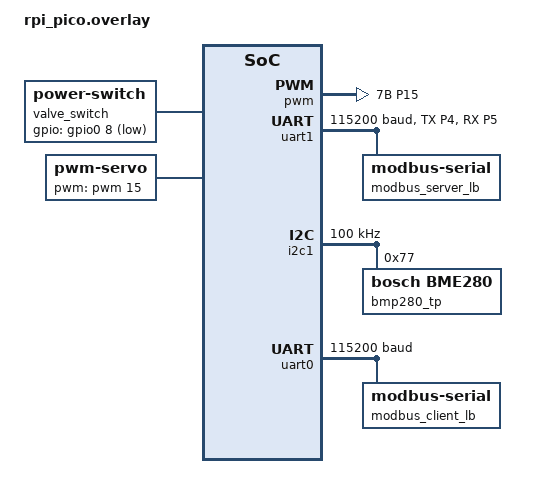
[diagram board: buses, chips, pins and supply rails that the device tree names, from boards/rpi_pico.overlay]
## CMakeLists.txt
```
CMAKE_MINIMUM_REQUIRED(VERSION 3.20.0)

FIND_PACKAGE(Zephyr REQUIRED HINTS $ENV{ZEPHYR_BASE})

PROJECT(micro_flow_controller)

FILE(GLOB app_sources src/*.c)
                           
TARGET_SOURCES(app PRIVATE ${app_sources})
```

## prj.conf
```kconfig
CONFIG_UART_CONSOLE=n
CONFIG_USE_SEGGER_RTT=y
CONFIG_RTT_CONSOLE=y

CONFIG_SENSOR=y

CONFIG_LOG=y

CONFIG_PRINTK=y

CONFIG_GPIO=y

CONFIG_SERIAL=y

CONFIG_UART_INTERRUPT_DRIVEN=y
CONFIG_UART_LINE_CTRL=n

CONFIG_PWM=y

CONFIG_MODBUS=y
CONFIG_MODBUS_ROLE_CLIENT_SERVER=y

CONFIG_MAIN_STACK_SIZE=2048
CONFIG_REQUIRES_FULL_LIBC=y
CONFIG_POSIX_API=y
CONFIG_SNTP=y

CONFIG_MAIN_STACK_SIZE=1024
CONFIG_SYSTEM_WORKQUEUE_STACK_SIZE=512

CONFIG_TEST_RANDOM_GENERATOR=y

CONFIG_THREAD_STACK_INFO=y
CONFIG_DYNAMIC_THREAD=y
CONFIG_DEBUG_THREAD_INFO=y
CONFIG_THREAD_NAME=y

CONFIG_ZBUS=y
CONFIG_ZBUS_LOG_LEVEL_INF=y
```

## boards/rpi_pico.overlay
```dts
&pinctrl{
  pwm_7bp15: pwm_7bp15{ group1{ pinmux = <PWM_7B_P15>; }; };
};

&pwm{
  status = "okay";
  pinctrl-0 = <&pwm_7bp15>;
  pinctrl-names = "default";
  divider-int-7 = <1>;
  divider-frac-7 = <0>;
};

&i2c0{
  status = "disabled";
};

&pinctrl{
  uart1_default: uart1_default{
    group1{ pinmux = <UART1_TX_P4>; };
    group2{ pinmux = <UART1_RX_P5>; input-enable;};
  };
};

&uart1{
  status = "okay";
  current-speed = <115200>;
  pinctrl-0 = <&uart1_default>;
  pinctrl-names = "default";
  modbus_server_lb: modbus_server{
    compatible = "zephyr,modbus-serial";
    status = "okay";
  };
};


&i2c1{
  status = "okay";
  pinctrl-0 = <&i2c1_default>;
  pinctrl-names = "default";
  clock-frequency = <I2C_BITRATE_STANDARD>;

  bmp280_tp@77{
    compatible = "bosch,bme280";
    reg = <0x77>;
    status = "okay";
  };

  //aht20_tp@38{
  //  compatible = "aosong,aht20";
  //  reg = <0x38>;
  //  status = "okay";
  //};

};

&uart0{
  status = "okay";
  current-speed = <115200>;
  pinctrl-0 = <&uart0_default>;
  pinctrl-names = "default";
  modbus_client_lb: modbus_client{
    compatible = "zephyr,modbus-serial";
    status = "okay";
  };
};

/{
  valve_switch: valve_switch{
    compatible = "power-switch";
    gpios = <&gpio0 8 GPIO_ACTIVE_LOW>;
  };

  servo: servo{
    compatible = "pwm-servo";
    status = "okay";
    pwms = <&pwm 15 PWM_USEC(50) PWM_POLARITY_INVERTED>;
    min-pulse = <PWM_USEC(10)>;
    max-pulse = <PWM_USEC(50)>;
  };

  aliases {
    modbus-client = &modbus_client_lb;
    modbus-server = &modbus_server_lb;
    switch0 = &valve_switch;
    servo0 = &servo;
  };
};
```

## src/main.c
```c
#include <zephyr/kernel.h>
#include <zephyr/sys/util.h>
#include <zephyr/drivers/gpio.h>
#include <zephyr/modbus/modbus.h>
#include <zephyr/usb/usb_device.h>
#include <zephyr/device.h>
#include <zephyr/logging/log.h>
#include <zephyr/devicetree.h>
#include <zephyr/drivers/sensor.h>
#include <zephyr/drivers/pwm.h>
#include <stdio.h>

#include <errno.h>
#include <sys/time.h>
#include <time.h>
#include <unistd.h>
#include <pthread.h>

#include "period_task.h"
#include "sensors.h"

LOG_MODULE_REGISTER(demo_version,LOG_LEVEL_INF);
static uint16_t modbus_registers[64];
static uint8_t __attribute__((unused)) modbus_coils;


#define PWM_HALF_USEC(x) 500*(x)

#define SET_LED 0x0000
#define MODBUS_SEVER_FC_TEMP  0x0001
#define MODBUS_SEVER_FC_PRESS 0x0005

#define READ_FLOWMETER_ADDR 0x0009

#define WRITE_REGISTER_SetFlow_LO 0x000F
#define WRITE_REGISTER_SetFlow_HI 0x0010
#define SET_FLOWMETER_ADDR 0x0011

#define MODBUS_SEVER_FC_SET_VSWITCH 0x0012
#define MODBUS_SEVER_FC_SET_SM 0x0013
#define SET_PERIOD_DUMP 0x0014
#define SET_PERIOD_RECYCLE 0x0015
#define SET_MFC_PV_LO 0x0016
#define SET_MFC_PV_HI 0x0017

#define READ_CURRENT_FLOW 0x0000
#define READ_TOTAL_FLOW 0x0001
#define SET_FLOW 0x0000
#define RESET_TOTAL_FLOW 0x0001
#define GPIO8_HIGH 0x0001
#define GPIO8_LOW  0x0000

#define LED0_NODE DT_ALIAS(led0)
static const struct gpio_dt_spec led = GPIO_DT_SPEC_GET(LED0_NODE, gpios);



#if !DT_NODE_EXISTS(DT_NODELABEL(valve_switch))
# error "compiler: device node not define"
#endif
#if !DT_NODE_EXISTS(DT_ALIAS(servo0))
# error "compiler: define node <servo0> not define"
#else
# define SEVER0_NODE DT_ALIAS(servo0)
#endif
static const struct pwm_dt_spec servo_st = PWM_DT_SPEC_GET(SEVER0_NODE);
static const uint32_t __attribute__((unused)) min_pulse = DT_PROP(SEVER0_NODE,min_pulse);
static const uint32_t __attribute__((unused)) max_pulse = DT_PROP(SEVER0_NODE,max_pulse);

static const struct gpio_dt_spec valve_switch = 
  GPIO_DT_SPEC_GET_OR(DT_NODELABEL(valve_switch),gpios,{0});

static const struct device* bmp280;
static const struct device* aht20;
static int client_iface;

struct sensors_msg{
  uint16_t data[15];
};
static struct sensors_msg monitor = {0};

void monitor_pt_task(struct k_work* dummy){
  struct sensor_value value;
  sensor_sample_fetch(bmp280);
  sensor_channel_get(bmp280,SENSOR_CHAN_AMBIENT_TEMP,&value);
  monitor.data[0] = value.val1;
  monitor.data[1] = (uint16_t)(value.val2>>16);
  monitor.data[2] = (uint16_t)(value.val2 & 0xFFFF);
  k_msleep(10);
  sensor_channel_get(bmp280,SENSOR_CHAN_PRESS,&value);
  monitor.data[3] = value.val1;
  monitor.data[4] = (uint16_t)(value.val2>>16);
  monitor.data[5] = (uint16_t)(value.val2 & 0xFFFF);
  //k_msleep(10);
  //get_aht20_t(aht20,monitor.data+6);
  k_msleep(30);
  modbus_read_holding_regs(client_iface,1,0x0010,monitor.data+11,2);
  //LOG_INF("====> update");
}
static struct period_task monitor_pt = {
  .task = monitor_pt_task
  ,.m_interval_td = 0
  ,.m_interval_tp = 300
};
#include <zephyr/zbus/zbus.h>
ZBUS_CHAN_DECLARE(sensors_data_update);
void* peripheral_thread(void*){
  struct sensors_msg sm = {0};
  while(1){
    struct sensor_value value;
    sensor_sample_fetch(bmp280);
    sensor_channel_get(bmp280,SENSOR_CHAN_AMBIENT_TEMP,&value);
    sm.data[0] = value.val1;
    sm.data[1] = (uint16_t)(value.val2>>16);
    sm.data[2] = (uint16_t)(value.val2 & 0xFFFF);
    k_msleep(10);
    sensor_channel_get(bmp280,SENSOR_CHAN_PRESS,&value);
    sm.data[3] = value.val1;
    sm.data[4] = (uint16_t)(value.val2>>16);
    sm.data[5] = (uint16_t)(value.val2 & 0xFFFF);
    k_msleep(30);
    modbus_read_holding_regs(client_iface,1,0x0010,sm.data+11,2);

    //LOG_INF("my_thread");
    //LOG_INF("my thread. bmp: %d",POINTER_TO_INT(bmp280));


    //for (int i=0; i<3; ++i) sm.temprature[i]++;
    //for (int i=0; i<3; ++i) sm.pressure[i]++;
    //for (int i=0; i<3; ++i) sm.humidity[i]++;
    zbus_chan_pub(&sensors_data_update,&sm,K_MSEC(200));
    k_msleep(1000);

  }
}
//K_THREAD_DEFINE(peripheral_thread_id,1024,peripheral_thread,NULL,NULL,NULL,5,0,0);


struct sensor_wq_info{
  struct k_work work;
  const struct zbus_channel* chan;
  uint8_t handle;
};
static struct sensor_wq_info wq_handler1 = {.handle = 1};
static struct sensor_wq_info wq_handler2 = {.handle = 2};
static struct sensor_wq_info wq_handler3 = {.handle = 3};
static struct sensor_wq_info wq_handler4 = {.handle = 4};

static void wq_dh_cb1(struct k_work* item){
  struct sensors_msg msg;
  struct sensor_wq_info* sens = 
    CONTAINER_OF(item,struct sensor_wq_info,work);
  zbus_chan_read(sens->chan,&msg,K_MSEC(200));
  LOG_INF("sen handle(T) %d %d %d %d",sens->handle
      ,msg.data[0] ,msg.data[1] ,msg.data[2]); }
static void wq_dh_cb2(struct k_work* item){
  struct sensors_msg msg;
  struct sensor_wq_info* sens = 
    CONTAINER_OF(item,struct sensor_wq_info,work);
  zbus_chan_read(sens->chan,&msg,K_MSEC(200));
  LOG_INF("sen handle(P) %d %d %d %d",sens->handle
      ,msg.data[3] ,msg.data[4] ,msg.data[5]); }
static void wq_dh_cb3(struct k_work* item){
  struct sensors_msg msg;
  struct sensor_wq_info* sens = 
    CONTAINER_OF(item,struct sensor_wq_info,work);
  zbus_chan_read(sens->chan,&msg,K_MSEC(200));
  LOG_INF("sen handle(MFC-PV) %d %d %d",sens->handle
      ,msg.data[11],msg.data[12]); }

static void wq_dh_cb4(struct k_work* item){
  struct sensors_msg msg;
  struct sensor_wq_info* sens = 
    CONTAINER_OF(item,struct sensor_wq_info,work);
  zbus_chan_read(sens->chan,&msg,K_MSEC(200));
  for (int i=0; i<ARRAY_SIZE(monitor.data); ++i)
    monitor.data[i] = msg.data[i];

}






static void dh1_cb(const struct zbus_channel* chan){
  wq_handler1.chan = chan;
  k_work_submit(&wq_handler1.work); }
static void dh2_cb(const struct zbus_channel* chan){
  wq_handler2.chan = chan;
  k_work_submit(&wq_handler2.work); }
static void dh3_cb(const struct zbus_channel* chan){
  wq_handler3.chan = chan;
  k_work_submit(&wq_handler3.work); }
static void dh4_cb(const struct zbus_channel* chan){
  wq_handler4.chan = chan;
  k_work_submit(&wq_handler4.work); }

ZBUS_LISTENER_DEFINE(delay_handler1_lis,dh1_cb);
ZBUS_LISTENER_DEFINE(delay_handler2_lis,dh2_cb);
ZBUS_LISTENER_DEFINE(delay_handler3_lis,dh3_cb);
ZBUS_LISTENER_DEFINE(delay_handler4_lis,dh4_cb);
ZBUS_CHAN_DEFINE(sensors_data_update
    ,struct sensors_msg
    ,NULL
    ,NULL
    ,ZBUS_OBSERVERS(
      delay_handler1_lis
      ,delay_handler2_lis
      ,delay_handler3_lis
      ,delay_handler4_lis
      )
    ,ZBUS_MSG_INIT(0));



const static struct modbus_iface_param client_accu_iface = {
  .mode = MODBUS_MODE_RTU,
  .rx_timeout = 500000,
  .serial = {
    .baud = 115200,
    .parity = UART_CFG_PARITY_NONE,
    .stop_bits_client = UART_CFG_STOP_BITS_1
  }
};

#define MODBUS_CLIENT_NODE DT_ALIAS(modbus_client)
static int init_modbus_client(void){
  char const iface_name[] = {DEVICE_DT_NAME(MODBUS_CLIENT_NODE)};
  LOG_INF("init_modbus_client: iface_name %s",iface_name);
  client_iface = modbus_iface_get_by_name(iface_name);
  LOG_INF("init_modbus_client: client_iface: %d",client_iface);

  return modbus_init_client(client_iface,client_accu_iface);
}

enum run_state{
  k_debug
  ,k_run
};

static enum run_state rs = k_debug;

static int coil_rd(uint16_t addr, bool* state){
  LOG_INF("todo");
  return 0;
}

static int coil_wr(uint16_t addr, bool state){
  LOG_INF("todo");

  return 0;
}


static int registers_read(uint16_t addr, uint16_t* reg){
  if (rs==k_debug)
    *reg = modbus_registers[addr];
  else if(rs==k_run)
    *reg = monitor.data[addr];
  //LOG_INF("registers_read, addr %u",addr);
  return 0;
}

static int registers_write(uint16_t addr, uint16_t value);

static struct modbus_user_callbacks mbs_cbs = {
  .coil_rd = coil_rd,
  .coil_wr = coil_wr,
  .holding_reg_rd = registers_read,
  .holding_reg_wr = registers_write
};
const static struct modbus_iface_param server_param = {
	.mode = MODBUS_MODE_RTU,
	.server = {
		.user_cb = &mbs_cbs,
		.unit_id = 1,
	},
	.serial = {
		.baud = 19200,
		.parity = UART_CFG_PARITY_NONE,
    .stop_bits_client = UART_CFG_STOP_BITS_2
	}
};

#define MODBUS_SERVER_NODE DT_ALIAS(modbus_server)
static int init_modbus_server(void){
  const char iface_name[] = {DEVICE_DT_NAME(MODBUS_SERVER_NODE)};
  LOG_INF("init_modbus_server: iface_name %s",iface_name);
  int iface = modbus_iface_get_by_name(iface_name);
  if (iface<0){
    LOG_ERR("failed to get iface index for %s",iface_name);
    return iface; }
  return modbus_init_server(iface,server_param); }

static const struct device* get_bmp280_device(void){
#if !DT_NODE_HAS_STATUS(DT_NODELABEL(i2c1), okay)
# pragma message "i2c1 node has been unable, sensor unable too"
  LOG_INF("i2c1 unable");
  return NULL;
#else
  const struct device* const dev = DEVICE_DT_GET_ANY(bosch_bme280);
  if (dev==NULL){
    LOG_ERR("sensor bmp280 get failed");
    return NULL; }
  if (!device_is_ready(dev)){
    LOG_ERR("device %s is not ready",dev->name);
    return NULL; }
  return dev;
#endif
}


static const struct device* get_aht20_device(void){
#if !DT_NODE_HAS_STATUS(DT_NODELABEL(i2c1),okay)
# pragma message "i2c1 node has been unable, sensor unable too"
  LOG_INF("i2c1 unable");
  return NULL;
#else
  const struct device* const dev = DEVICE_DT_GET_ANY(aosong_aht20);
  if (dev==NULL){
    LOG_ERR("sensor %s get failed",dev->name);
    return NULL;
  }
  if (!device_is_ready(dev)){
    LOG_ERR("device %s is not ready",dev->name);
    return NULL; 
  }
  return dev;
#endif
}



//---------------------------------------------------------------------
static int trans_to_recycle_mode(){
  int ec = gpio_pin_configure_dt(&valve_switch,GPIO_OUTPUT_ACTIVE);
  if (ec<0){
    k_msleep(30);
    if (gpio_pin_configure_dt(&valve_switch,GPIO_OUTPUT_ACTIVE)<0) return -1;
  }
  k_msleep(30);

  ec = pwm_set_pulse_dt(&servo_st,PWM_HALF_USEC(14));
  if (ec<0){
    k_msleep(30);
    if (pwm_set_pulse_dt(&servo_st,PWM_HALF_USEC(14))<0) return -3;
  }

  k_msleep(200);

  uint16_t float0[2] = {0,0};
  ec = modbus_write_holding_regs(client_iface,1,0x006a,float0,2);
  if (ec != 0){
    k_msleep(200);
    ec = modbus_read_holding_regs(client_iface,1,0x006a,float0,2);
    if (ec !=0) return -2; }
  return 0;

}
static int trans_to_dump_mode(){
  int ec = pwm_set_pulse_dt(&servo_st,0);
  if (ec<0){
    k_msleep(30);
    if (pwm_set_pulse_dt(&servo_st,0)<0) return -1;
  }
  k_msleep(30);

  //uint16_t float_toset[2] = {0,16880}; //40.
  ec = modbus_write_holding_regs(client_iface,1,0x006a
      ,modbus_registers+SET_MFC_PV_LO,2);
  if (ec != 0){
    k_msleep(200);
    ec = modbus_write_holding_regs(client_iface,1,0x006a,
        modbus_registers+SET_MFC_PV_LO,2);
    if (ec!=0){
      gpio_pin_configure_dt(&valve_switch,GPIO_OUTPUT_INACTIVE);
      return -2;
    }
  }

  k_msleep(200);
  ec = gpio_pin_configure_dt(&valve_switch,GPIO_OUTPUT_INACTIVE);
  if (ec<0){
    k_msleep(30);
    if(gpio_pin_configure_dt(&valve_switch,GPIO_OUTPUT_INACTIVE)<0) return -3;
  }
  return 0;
}

static int self_cycle_mode(){

  LOG_INF("self cycle mode!");
  rs = k_run;

  size_t i = 1;
  while(rs==k_run){
    LOG_INF("period %d start" ,i++);
    uint16_t dt = modbus_registers[SET_PERIOD_DUMP];
    uint16_t rt = modbus_registers[SET_PERIOD_RECYCLE];
    LOG_INF("dt rt: %d %d",dt,rt);

    int ec;
    if (dt==0){
    }else{
      ec = trans_to_dump_mode();
      if (ec != 0){
        LOG_WRN("%d loop, Failed in 'trans_to_dump_mode'", i);
      }else{
        LOG_INF("===> dump mode");
        k_msleep(dt*1000);
      }
    }

    if (rt==0){
    }else{
      ec = trans_to_recycle_mode();
      if (ec != 0){
        LOG_WRN("%d loop, Failed in 'trans_to_recycle_mode'", i);
      }else{
        LOG_INF("===> recycle mode");
        k_msleep(rt*1000);
      }
    }
  }
  return 0;
}
//---------------------------------------------------------------------
void AAA_WK(struct k_work* item){
  struct timeval tv;
  gettimeofday(&tv,NULL);
  LOG_INF("AAA_WK %d %d %d, thread: %d"
      ,(unsigned int)(tv.tv_sec>>32),(unsigned int)tv.tv_sec,(unsigned int)tv.tv_usec
      ,pthread_self()); }
void BBB_WK(struct k_work* item){
  struct timeval tv;
  gettimeofday(&tv,NULL);
  LOG_INF("BBB_WK %d %d %d, thread: %d"
      ,(unsigned int)(tv.tv_sec>>32),(unsigned int)tv.tv_sec,(unsigned int)tv.tv_usec
      ,pthread_self()); }
void CCC_WK(struct k_work* item){
  struct timeval tv;
  gettimeofday(&tv,NULL);
  LOG_INF("CCC_WK %d %d %d, thread: %d"
      ,(unsigned int)(tv.tv_sec>>32),(unsigned int)tv.tv_sec,(unsigned int)tv.tv_usec
      ,pthread_self()); }
//---------------------------------------------------------------------

static int registers_write(uint16_t addr, uint16_t value){
  switch(addr){
    case(SET_LED):
      if (value==0) gpio_pin_configure_dt(&led,GPIO_OUTPUT_INACTIVE);
      else if (value==1) gpio_pin_configure_dt(&led,GPIO_OUTPUT_ACTIVE);
      else if (value==2) rs=k_debug;
      else if (value==3) rs=k_run;
      else if (value==4){
        l_stop_period_task(&monitor_pt);
      }else if (value==5){
        self_cycle_mode();
      }else if(value==6){
        l_start_period_task(&monitor_pt);
      }
      modbus_registers[0] = value;
      break;
    case(MODBUS_SEVER_FC_TEMP):
      struct sensor_value value2;
      sensor_sample_fetch(bmp280);
      sensor_channel_get(bmp280,SENSOR_CHAN_AMBIENT_TEMP,&value2);
      modbus_registers[2] = value2.val1;
      modbus_registers[3] = (uint16_t)(value2.val2>>16);
      modbus_registers[4] = (uint16_t)(value2.val2 & 0xFFFF);
      LOG_INF("senso: temp: %d.%d",value2.val1,value2.val2);
      break;
    case(MODBUS_SEVER_FC_PRESS):
      struct sensor_value value1;
      sensor_sample_fetch(bmp280);
      sensor_channel_get(bmp280,SENSOR_CHAN_PRESS,&value1);
      modbus_registers[6] = value1.val1;
      modbus_registers[7] = (uint16_t)(value1.val2>>16);
      modbus_registers[8] = (uint16_t)(value1.val2 & 0xFFFF);
      LOG_INF("sensor press: %d.%d",value1.val1,value1.val2);
      break;
    case(READ_FLOWMETER_ADDR):
      if (value==READ_CURRENT_FLOW){
        int ecode = 
          modbus_read_holding_regs(client_iface,1,0x0010,modbus_registers+10,2);
        //ecode = 
        //  modbus_read_holding_regs(client_iface,1,0x0010,modbus_registers+10,2);
        if (ecode!=0){ 
          LOG_ERR("current read failed");
          return -1;
        }
        LOG_INF("read current flow ok");
        LOG_HEXDUMP_INF(modbus_registers+10,2,"moment ...");}
      else if (value==READ_TOTAL_FLOW){
        int ecode = 
          modbus_read_holding_regs(client_iface,1,0x001c,modbus_registers+12,2);
        if (ecode!=0){
          LOG_ERR("total read failed");
          return -1;
        }
        LOG_INF("read total flow ok");
        LOG_HEXDUMP_INF(modbus_registers+12,2,"sustain ...");
      }
      break;
    
    case (SET_FLOWMETER_ADDR):
      if (value==RESET_TOTAL_FLOW){
        uint16_t zero_float[2] = {0,0};
        int ec = modbus_write_holding_regs( client_iface,1,0x001c,zero_float,2);
        if (ec!=0){ 
          LOG_ERR("reset total flow failed");
          return -1;
        }
        LOG_INF("reset total flow ok");
      }else if(value==SET_FLOW){
        //LOG_INF("inter: SET_FLOW !!");

        int ec = modbus_write_holding_regs(client_iface,1,0x006a,modbus_registers+15,2);

        if (ec != 0){
          LOG_ERR("set flow failed");
          return -1;
        }
        LOG_INF("set flow ok"); 
      }
      break;
    //case(WRITE_REGISTER_SetFlow_LO):
    //  modbus_registers[15] = value;
    //  break;
    //case(WRITE_REGISTER_SetFlow_HI):
    //  modbus_registers[16] = value;
    //  break;
    case(MODBUS_SEVER_FC_SET_VSWITCH):
      if (value==GPIO8_HIGH){
        if (gpio_pin_configure_dt(&valve_switch,GPIO_OUTPUT_INACTIVE)<0){
          LOG_ERR("valve_switch set to 'INACTIVE' failed");
          return -1;
        }
        LOG_INF("valve_switch switch to 'INACTIVE' ok");
      }
      else if(value==GPIO8_LOW){
        if (gpio_pin_configure_dt(&valve_switch,GPIO_OUTPUT_ACTIVE)<0){
          LOG_ERR("valve_switch set to 'ACTIVE' failed");
          return -1;
        }
        LOG_INF("valve_switch switch to 'ACTIVE' ok");
      }
      break;
    case(MODBUS_SEVER_FC_SET_SM):
      LOG_INF("MODBUS_SEVER_FC_SET_SM, value: %d",value);
      pwm_set_pulse_dt(&servo_st,PWM_USEC(value/2));
      LOG_INF("servo_motor's pluse be set to %ld ok",PWM_USEC(value/2));
      break;
    case(SET_MFC_PV_LO):
    case(SET_MFC_PV_HI):
    case(SET_PERIOD_DUMP):
    case(SET_PERIOD_RECYCLE):
    case(WRITE_REGISTER_SetFlow_LO):
    case(WRITE_REGISTER_SetFlow_HI):
      modbus_registers[addr] = value;
    default:
      LOG_INF("unknow command %d",addr);
      break;
  }
  return 0;
}
//---------------------------------------------------------------------

int main(void){
  LOG_INF("program init");
  for (size_t i=0; i<32; i++) modbus_registers[i] = 0x00;
  modbus_registers[10] = modbus_registers[11] = 0xFFFF;
  modbus_registers[12] = modbus_registers[13] = 0xFFFF;
  modbus_registers[SET_MFC_PV_LO] = 0;
  modbus_registers[SET_MFC_PV_HI] = 16880;
  modbus_registers[SET_PERIOD_DUMP] = 30;
  modbus_registers[SET_PERIOD_RECYCLE] = 30;
  if (!gpio_is_ready_dt(&led)){
    LOG_ERR("gpio8 output led ready failed");
    return -1;
  }
  //LOG_INF("gpio8 output led ready ok");
  modbus_registers[14] |= 0b00000001;

  if (!gpio_is_ready_dt(&valve_switch)){
    LOG_ERR("gpio8 output valve_switch ready failed");
    return -1;
  }
  modbus_registers[14] |= 0b00000010;
  //LOG_INF("gpio8 output valve_switch ready ok");
  if (!pwm_is_ready_dt(&servo_st)){
    LOG_ERR("pwm device not ready: %s",servo_st.dev->name);
    return -1;
  }
  pwm_set_pulse_dt(&servo_st,0);
  //LOG_INF("pwm device ready: %s",servo_st.dev->name);
  modbus_registers[14] |= 0b00000100;

  bmp280 = get_bmp280_device();
  if (bmp280 == NULL){
    LOG_ERR("sensor initialization failed");
  }else{
    LOG_INF("sensor bmp280 initialization ok");
    modbus_registers[14] |= 0b00001000;
  }

  aht20 = get_aht20_device(); //TODO 
  if (aht20==NULL){
    LOG_ERR("sensor aht20 initialization failed");
    return 0;
  }

  if (init_modbus_client()){
    LOG_ERR("modbus rtu client initialization failed"); 
    return -1;
  }
  modbus_registers[14] |= 0b00100000;
  //LOG_INF("modbus rtu client initialization ok");
  if (init_modbus_server()){ 
    LOG_ERR("modbus rtu server initialization failed");
    return -1;
  }
  //LOG_INF("modbus rtu server initialization ok");
  modbus_registers[14] |= 0b01000000;

  k_work_init(&wq_handler1.work,wq_dh_cb1);
  k_work_init(&wq_handler2.work,wq_dh_cb2);
  k_work_init(&wq_handler3.work,wq_dh_cb3);
  k_work_init(&wq_handler4.work,wq_dh_cb4);

  k_msleep(2000);
  uint16_t digit_mode_command[2] = {0x0000,0x41D0};
  if (modbus_write_holding_regs(client_iface,1,0x0074,digit_mode_command,2)!=0){
    k_msleep(2000);
    if (modbus_write_holding_regs(client_iface,1,0x0074,digit_mode_command,2)!=0){
      LOG_ERR("set flowmeter mode as 'digit' failed"); 
      return -1;
    }
  }
  modbus_registers[14] |= 0b10000000;
  gpio_pin_configure_dt(&led,GPIO_OUTPUT_ACTIVE);
  LOG_INF("set flowmeter mode as 'digit'");
  LOG_INF("all is ok, blink the LED");

  l_init_period_task(&monitor_pt);

  l_start_period_task(&monitor_pt);

  self_cycle_mode();

  return 0;

}
```

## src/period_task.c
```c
#include "period_task.h"
void period_task_adaptor(struct k_timer* pt){
  struct period_task* task = 
    CONTAINER_OF(pt,struct period_task,m_timer);
  if (task->work_queue==NULL) k_work_submit(&task->work);
  else k_work_submit_to_queue(task->work_queue,&task->work); }

void l_init_period_task(struct period_task* pt){
  k_work_init(&pt->work,pt->task);
  k_timer_init(&pt->m_timer,period_task_adaptor,NULL); }

void l_start_period_task(struct period_task* pt){
  k_timer_start(&pt->m_timer
      ,K_MSEC(pt->m_interval_td),K_MSEC(pt->m_interval_tp)); }

void l_stop_period_task(struct period_task* pt){
  k_timer_stop(&pt->m_timer);
}
```

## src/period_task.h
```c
#ifndef period_task_H
#define period_task_H 1 
#include <zephyr/kernel.h>
struct period_task{
  uint32_t m_interval_td;
  uint32_t m_interval_tp;
  struct k_timer m_timer;
  struct k_work work;
  k_work_handler_t task;
  struct k_work_q* work_queue;
};

void period_task_adaptor(struct k_timer*);
void l_init_period_task(struct period_task*);
void l_start_period_task(struct period_task*);
void l_stop_period_task(struct period_task*);

#endif
```

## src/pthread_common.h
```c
#ifndef pthread_common_H
#define pthread_common_H

//#include <zephyr/logging/log.h>
//LOG_MODULE_REGISTER(GFC,LOG_LEVEL_INF);
//#include "posix_internal.h"
//#include <pthread.h>
//
//#define TASK_NUM 4
//
//#define TASK_ID_SUBMIT_DATA 0
//static bool is_submit_data = false;
//typedef pthread_mutex_t* mutex_t;
//static pthread_mutex_t mutexs[TASK_NUM];
//static pthread_t threads[TASK_NUM];
//
//inline void mutex_init(mutex_t m){
//  int ret;
//  ret = pthread_mutex_init(m,NULL);
//  if (IS_ENABLED(CONFIG_SAMPLE_ERROR_CHECKING) && ret != 0){
//    errno = ret;
//    //perror("pthread_mutex_init");
//    __ASSERT(false,"failed to initialize fork");
//  }
//}
//
//void init_mutexs(void){
//  ARRAY_FOR_EACH(mutexs,i){
//    //LOG_INF("initialization mutex_t %zu",i); 
//    mutex_init(&mutexs[i]);
//  }
//}
//
//inline void take(mutex_t m){
//  int ret;
//  ret = pthread_mutex_lock(m);
//  if (IS_ENABLED(CONFIG_SAMPLE_ERROR_CHECKING) && ret != 0){
//    errno = ret;
//    //perror("pthread_mutex_lock");
//    __ASSERT(false,"failed to lock mutex");
//  }
//}
//inline void drop(mutex_t m){
//  int ret;
//  ret = pthread_mutex_unlock(m);
//  if (IS_ENABLED(CONFIG_SAMPLE_ERROR_CHECKING) && ret != 0){
//    errno = ret;
//    //perror("pthread_mutex_unlock");
//    __ASSERT(false, "failed to unlock mutex");}
//}


    
#endif
```

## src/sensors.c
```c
#include "sensors.h"

int get_bmp280_t(const struct device* d, uint16_t* data){
  sensor_sample_fetch(d);
  struct sensor_value value;
  int ec = sensor_channel_get(d,SENSOR_CHAN_AMBIENT_TEMP,&value);
  if (ec!=0) return ec;
  data[0] = value.val1;
  data[1] = (uint16_t)(value.val2>>16);
  data[2] = (uint16_t)(value.val2 & 0xFFFF);
  return 0;
}

int get_bmp280_p(const struct device* d, uint16_t* data){
  sensor_sample_fetch(d);
  struct sensor_value value;
  int ec = sensor_channel_get(d,SENSOR_CHAN_PRESS,&value);
  if (ec!=0) return ec;
  data[0] = value.val1;
  data[1] = (uint16_t)(value.val2>>16);
  data[2] = (uint16_t)(value.val2 & 0xFFFF);
  return 0;
}

//int get_aht20_t(const struct device* d, uint16_t* data){
//  sensor_sample_fetch(d);
//  struct sensor_value value;
//  int ec = sensor_channel_get(d,SENSOR_CHAN_AMBIENT_TEMP,&value);
//  if (ec!=0) return ec;
//  data[0] = value.val1;
//  data[1] = (uint16_t)(value.val2>>16);
//  data[2] = (uint16_t)(value.val2 & 0xFFFF);
//  return 0;
//}
//
//int get_aht20_h(const struct device* d, uint16_t* data){
//  sensor_sample_fetch(d);
//  struct sensor_value value;
//  int ec = sensor_channel_get(d,SENSOR_CHAN_HUMIDITY,&value);
//  if (ec!=0) return ec;
//  data[0] = value.val1;
//  data[1] = (uint16_t)(value.val2>>16);
//  data[2] = (uint16_t)(value.val2 & 0xFFFF);
//  return 0;
//}
```

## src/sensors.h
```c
#ifndef sensors_H
#define sensors_H 1 
#include <zephyr/kernel.h>
#include <zephyr/device.h>
#include <zephyr/drivers/sensor.h>
int get_bmp280_t(const struct device* bmp280,uint16_t*);
int get_bmp280_p(const struct device* bmp280,uint16_t*);
//int get_aht20_t(const struct device* bmp280,uint16_t*);
//int get_aht20_h(const struct device* bmp280,uint16_t*);
#endif
```
